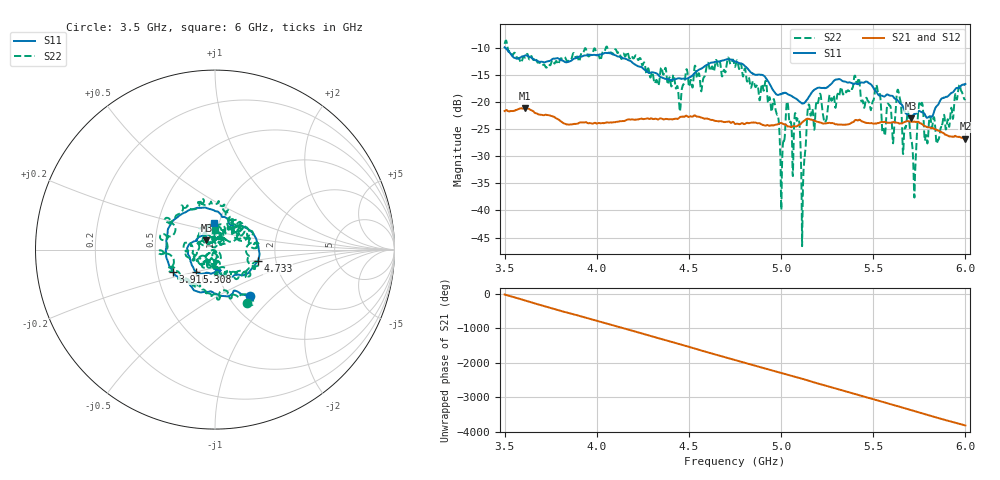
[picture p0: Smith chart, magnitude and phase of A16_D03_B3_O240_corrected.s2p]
! Created with skrf 1.9.0 (http://scikit-rf.org).
# Hz S RI R 50.0
!freq ReS11 ImS11 ReS21 ImS21 ReS12 ImS12 ReS22 ImS22
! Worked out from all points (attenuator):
!   1601 points, 3.5 GHz to 6 GHz, reference 50 ohm
!   highest |S21| = -21.12 dB at 3.611 GHz (marker M1); lowest = -26.7 dB at 6 GHz (marker M2)
!   lowest |S11| = -23.0 dB at 5.705 GHz (marker M3), VSWR 1.15, Z = 45.2 + j4.73 ohm
!   |S11| at or under -10 dB: 3.505 GHz to end of sweep
!   |S22| runs from -46.6 to -8.6 dB; largest |S21 - S12| = 0.00099
!   S11 on the Smith chart (normalised r, x): 3.5 GHz: 1.25, -0.72; 3.916 GHz: 0.61, -0.16; 4.733 GHz: 1.61, -0.22; 5.308 GHz: 0.79, -0.20; 6 GHz: 0.94, +0.28
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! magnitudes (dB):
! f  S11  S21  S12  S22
! 3.5 GHz  -9.8  -21.6  -21.6  -9.2
! 3.611 GHz  -11.4  -21.1  -21.1  -11.8
! 3.916 GHz  -11.6  -23.8  -23.7  -11.0
! 3.917 GHz  -11.6  -23.7  -23.7  -10.8
! 4.334 GHz  -15.0  -23.2  -23.1  -16.9
! 4.733 GHz  -12.1  -23.7  -23.7  -12.5
! 4.75 GHz  -12.5  -24.0  -23.9  -13.5
! 4.967 GHz  -18.3  -24.2  -24.2  -20.6
! 5.005 GHz  -18.4  -23.9  -23.9  -32.4
! 5.033 GHz  -18.4  -24.4  -24.3  -19.9
! 5.086 GHz  -19.5  -24.4  -24.4  -23.5
! 5.119 GHz  -20.2  -23.6  -23.5  -35.6
! 5.145 GHz  -19.3  -23.1  -23.0  -21.1
! 5.167 GHz  -18.2  -23.2  -23.2  -21.4
! 5.308 GHz  -15.8  -24.1  -24.1  -18.4
! 5.584 GHz  -18.7  -23.8  -23.8  -20.4
! 5.638 GHz  -19.9  -23.9  -23.9  -18.1
! 5.705 GHz  -23.0  -23.6  -23.6  -27.0
! 5.722 GHz  -22.2  -23.6  -23.6  -36.8
! 5.756 GHz  -21.7  -23.9  -23.8  -20.8
! 5.852 GHz  -20.5  -25.2  -25.2  -27.0
! 6 GHz  -16.6  -26.7  -26.7  -19.4
